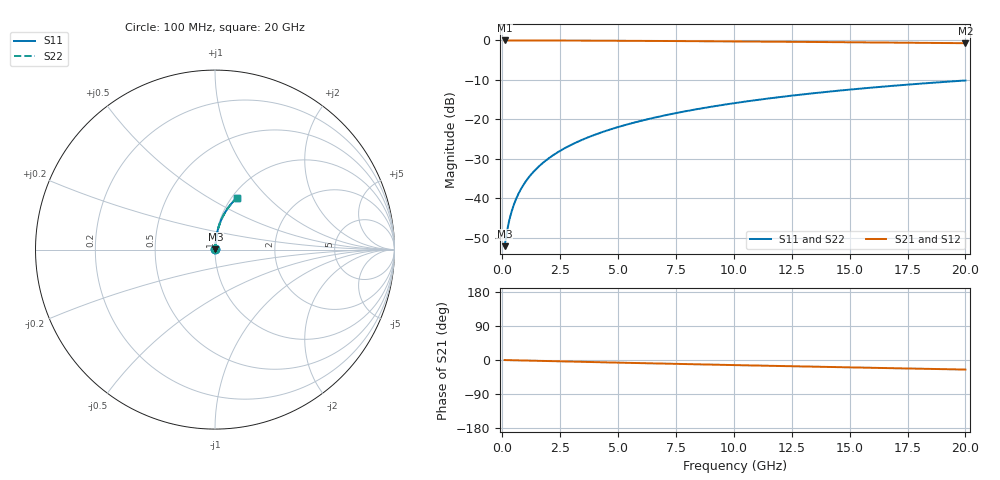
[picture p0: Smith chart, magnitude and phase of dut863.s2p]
! Touchstone file exported from HFSS 2024.1.0
!  File:  C:/UserFiles/LocalFiles/RDL_TSV_Batchsim/temp_RDL_bottom_863_1779864673.aedt
!  Generated:  02:54:17 PM May 27, 2026
!  Design:  RDL_bottom
!  Project:  temp_RDL_bottom_863_1779864673
!  Setup:  Setup1
!  Solution:  Sweep
! Variables:
!  dtsv = 10.80580581um
!  hbump = 3um
!  htsv = 83.65um
!  ldown = 288.21um
!  lrdl = 100um
!  p = 40
!  p1 = 53.51um
!  rhole = 1um
!  t = 450um
!  tdown = 4.26um
!  trdl = 3.915915916um
!  wdown = 14um
!  wrdl = 20um
# GHz S MA R 50.000000
! Terminal data exported
! Port[1] = RDL1_T1
! Port[2] = RDL1_T2
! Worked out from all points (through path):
!   200 points, 100 MHz to 20 GHz, reference 50 ohm
!   highest |S21| = -0.02 dB at 100 MHz (marker M1); lowest = -0.7 dB at 20 GHz (marker M2)
!   group delay of S21, straight-line fit = 3.49 ps
!   lowest |S11| = -52.2 dB at 100 MHz (marker M3), VSWR 1.00, Z = 50.2 + j0.166 ohm
!   |S11| at or under -10 dB: start of sweep to end of sweep
!   |S22| runs from -52.2 to -10.2 dB; largest |S21 - S12| = 2e-15
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0.1  0.002467 41.9  0.9982 -0.1  0.9982 -0.1  0.002467 41.9
! Gamma 0 0 0 0
! Port Impedance 50 0 50 0
0.2  0.003776 60.1  0.9981 -0.3  0.9981 -0.3  0.003776 60.1
0.3  0.005242 68.3  0.9981 -0.4  0.9981 -0.4  0.005242 68.3
0.4  0.006757 72.9  0.998 -0.6  0.998 -0.6  0.006757 72.9
0.5  0.008294 75.8  0.9979 -0.7  0.9979 -0.7  0.008294 75.8
0.6  0.009845 77.8  0.9978 -0.9  0.9978 -0.9  0.009845 77.8
0.8  0.01297 80.4  0.9977 -1.1  0.9977 -1.1  0.01297 80.4
1.1  0.0177 82.4  0.9975 -1.6  0.9975 -1.6  0.0177 82.4
1.5  0.02403 83.7  0.997 -2.1  0.997 -2.1  0.02403 83.7
1.8  0.02878 84.2  0.9967 -2.5  0.9967 -2.5  0.02878 84.2
2.1  0.03355 84.4  0.9962 -3.0  0.9962 -3.0  0.03355 84.4
2.7  0.04308 84.6  0.9952 -3.8  0.9952 -3.8  0.04308 84.6
3.5  0.05581 84.4  0.9935 -4.9  0.9935 -4.9  0.05581 84.4
4.2  0.06698 84.0  0.9917 -5.9  0.9917 -5.9  0.06698 84.0
5  0.07976 83.5  0.9894 -7.0  0.9894 -7.0  0.07976 83.5
5.9  0.09418 82.8  0.9865 -8.2  0.9865 -8.2  0.09418 82.8
6.8  0.1086 82.0  0.9833 -9.3  0.9833 -9.3  0.1086 82.0
8.3  0.1327 80.5  0.9776 -11.3  0.9776 -11.3  0.1327 80.5
10.1  0.1615 78.6  0.9702 -13.5  0.9702 -13.5  0.1615 78.6
13.4  0.2134 74.9  0.9553 -17.6  0.9553 -17.6  0.2134 74.9
16.7  0.2633 71.1  0.9389 -21.5  0.9389 -21.5  0.2633 71.1
20  0.3105 67.3  0.9214 -25.2  0.9214 -25.2  0.3105 67.3
